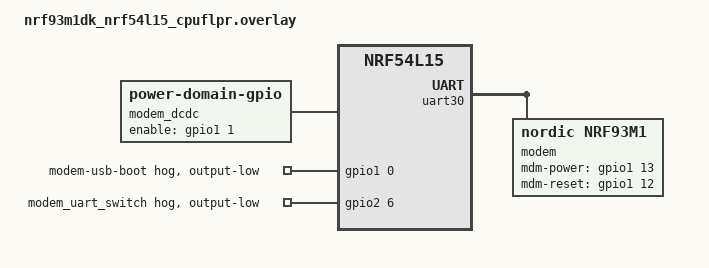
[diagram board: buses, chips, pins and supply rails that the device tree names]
/*
 * Copyright (c) 2026 Nordic Semiconductor ASA
 *
 * SPDX-License-Identifier: LicenseRef-Nordic-5-Clause
 */

/*
 * This overlay defines modem and DCDC power domain for the FLPR core.
 * These are only defined for the application core in the Zephyr board files
 */

/ {
	modem_dcdc: modem_dcdc {
		compatible = "power-domain-gpio";
		enable-gpios = <&gpio1 1 GPIO_ACTIVE_HIGH>;
		#power-domain-cells = <0>;
		startup-delay-us = <100000>; /* wait for 100ms to stabilize dcdc supply */
		off-on-delay-us = <500000>; /* wait for 500ms to stabilize main supply */
	};
};

&gpio1 {
	status = "okay";

	modem-usb-boot {
		gpio-hog;
		gpios = <0 GPIO_ACTIVE_HIGH>;
		output-low;
	};
};

&gpio2 {
	status = "okay";

	modem_uart_switch: modem-uart-switch {
		gpio-hog;
		gpios = <6 GPIO_ACTIVE_HIGH>;
		output-low;
	};
};

&uart30 {
	modem: modem {
		status = "okay";
		compatible = "nordic,nrf93m1";
		power-domains = <&modem_dcdc>;
		mdm-power-gpios = <&gpio1 13 GPIO_ACTIVE_HIGH>;
		mdm-reset-gpios = <&gpio1 12 GPIO_ACTIVE_HIGH>;
	};
};
